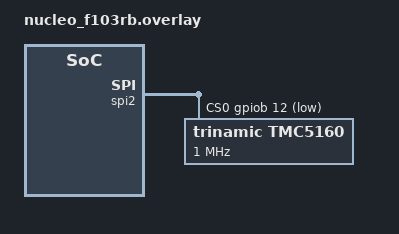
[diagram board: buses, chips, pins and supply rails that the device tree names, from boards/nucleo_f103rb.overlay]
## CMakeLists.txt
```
# SPDX-License-Identifier: Apache-2.0

# Add the driver directory as a zephyr module by hand
list(APPEND ZEPHYR_EXTRA_MODULES
	${CMAKE_CURRENT_SOURCE_DIR}/../drivers/tmc5160
)

list(APPEND OVERLAY_CONFIG
	${CMAKE_CURRENT_SOURCE_DIR}/../drivers/tmc5160/tmc5160.conf
)

cmake_minimum_required(VERSION 3.20.0)

# required for apps
find_package(Zephyr REQUIRED HINTS $ENV{ZEPHYR_BASE})

project(application_tmc)

zephyr_include_directories(src)

target_sources(app PRIVATE
	src/main.c
)
```

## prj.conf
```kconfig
CONFIG_TMC5160=y

CONFIG_SHELL_LOG_BACKEND=y

CONFIG_STDOUT_CONSOLE=y
CONFIG_PRINTK=y

CONFIG_LOG=y
CONFIG_LOG_PRINTK=y
CONFIG_LOG_MODE_IMMEDIATE=y
CONFIG_LOG_BACKEND_UART=y

CONFIG_PWM=y
CONFIG_PWM_LOG_LEVEL_DBG=y

CONFIG_SENSOR_LOG_LEVEL_DBG=y
```

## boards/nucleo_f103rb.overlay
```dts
/* SPDX-License-Identifier: Apache-2.0 */
&spi2 {
	cs-gpios = <&gpiob 12 (GPIO_ACTIVE_LOW | GPIO_PULL_UP)>;

	tmc0: tmc5160@0 {
		compatible = "trinamic,tmc5160";
		status = "okay";
		label = "TMC5160";
		reg = <0x00>;

		// datasheet: 4MHz internal, 8MHz external clock
		// TODO: seems not to work for higher speed than 1MHz
		spi-max-frequency = <1000000>;

		rotation-distance = <1>;	// [mm/turn]
	};
};
```

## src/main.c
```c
/*
 * Copyright (c) 2022 Wrecklab BV
 *
 * SPDX-License-Identifier: Apache-2.0
 */

#include <zephyr.h>
#include <device.h>
#include <devicetree.h>
#include <drivers/gpio.h>

#include "tmc5160.h"

#define SLEEP_TIME_MS   1000
#define LED0_NODE DT_ALIAS(led0)

bool toggle;

const struct device *tmc;
struct gpio_dt_spec led = GPIO_DT_SPEC_GET(LED0_NODE, gpios);

void main(void)
{
	tmc = DEVICE_DT_GET_ANY(trinamic_tmc5160);

	if (tmc == NULL) {
		return;
	}

	if( !device_is_ready(led.port) ) {
		return;
	}

	if( gpio_pin_configure_dt(&led, GPIO_OUTPUT_ACTIVE) < 0 ) {
		return;
	}

	toggle = 0;

	while (1) {

		if(toggle) {
			if( gpio_pin_toggle_dt(&led) < 0 ) {
				return;
			}
		}
		toggle = !toggle;

		k_msleep(SLEEP_TIME_MS);

	}
}
```
